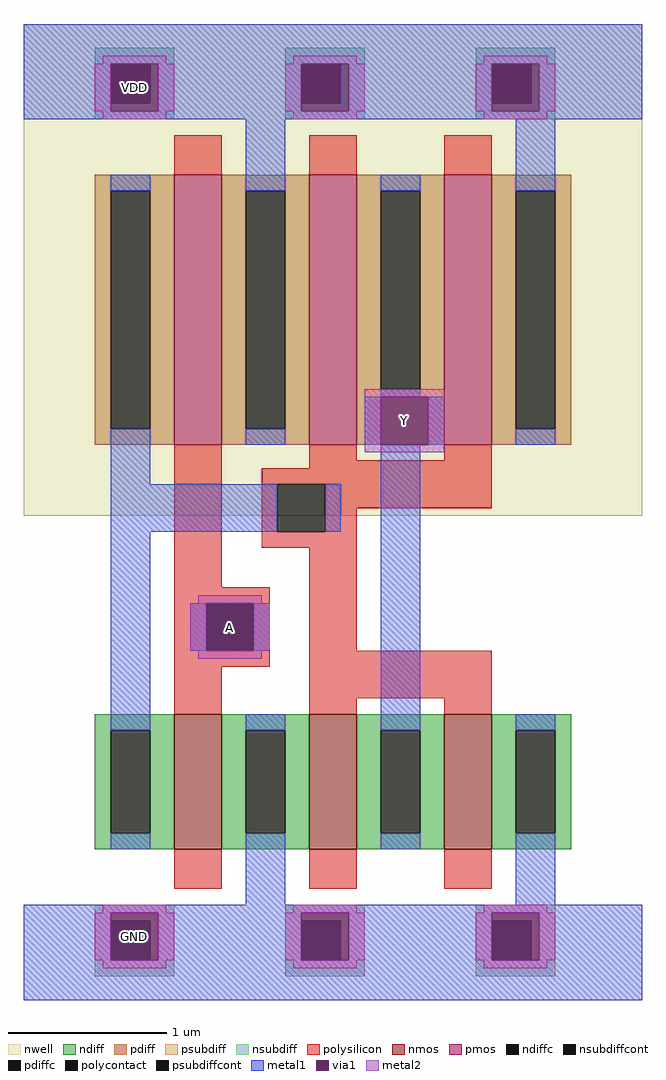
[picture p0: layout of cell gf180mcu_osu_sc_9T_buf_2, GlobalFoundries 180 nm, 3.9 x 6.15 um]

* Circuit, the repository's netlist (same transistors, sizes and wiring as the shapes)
* NGSPICE file created from gf180mcu_osu_sc_9T_buf_2.ext - technology: gf180mcuC

.inc "/import/yukari1/lrburle/globalfoundries-pdk-libs-gf180mcu_osu_sc/char/techfiles/design.hspice"
.lib "/import/yukari1/lrburle/globalfoundries-pdk-libs-gf180mcu_osu_sc/char/techfiles/sm141064.hspice" typical

X0 Y a_9_19# VDD VDD pmos_3p3 w=1.7u l=0.3u
X1 GND a_9_19# Y GND nmos_3p3 w=0.85u l=0.3u
X2 GND A a_9_19# GND nmos_3p3 w=0.85u l=0.3u
X3 VDD a_9_19# Y VDD pmos_3p3 w=1.7u l=0.3u
X4 VDD A a_9_19# VDD pmos_3p3 w=1.7u l=0.3u
X5 Y a_9_19# GND GND nmos_3p3 w=0.85u l=0.3u

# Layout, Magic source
magic
tech gf180mcuC
<< nwell >>
rect -17 97 61 159
<< nmos >>
rect 2 55 8 72
rect 19 55 25 72
rect 36 55 42 72
<< pmos >>
rect 2 106 8 140
rect 19 106 25 140
rect 36 106 42 140
<< ndiff >>
rect -8 70 2 72
rect -8 57 -6 70
rect -1 57 2 70
rect -8 55 2 57
rect 8 70 19 72
rect 8 57 11 70
rect 16 57 19 70
rect 8 55 19 57
rect 25 70 36 72
rect 25 57 28 70
rect 33 57 36 70
rect 25 55 36 57
rect 42 70 52 72
rect 42 57 45 70
rect 50 57 52 70
rect 42 55 52 57
<< pdiff >>
rect -8 138 2 140
rect -8 108 -6 138
rect -1 108 2 138
rect -8 106 2 108
rect 8 138 19 140
rect 8 108 11 138
rect 16 108 19 138
rect 8 106 19 108
rect 25 138 36 140
rect 25 113 28 138
rect 33 113 36 138
rect 25 106 36 113
rect 42 138 52 140
rect 42 108 45 138
rect 50 108 52 138
rect 42 106 52 108
<< ndiffc >>
rect -6 57 -1 70
rect 11 57 16 70
rect 28 57 33 70
rect 45 57 50 70
<< pdiffc >>
rect -6 108 -1 138
rect 11 108 16 138
rect 28 113 33 138
rect 45 108 50 138
<< psubdiff >>
rect -8 46 2 48
rect -8 41 -6 46
rect -1 41 2 46
rect -8 39 2 41
rect 16 46 26 48
rect 16 41 18 46
rect 23 41 26 46
rect 16 39 26 41
rect 40 46 50 48
rect 40 41 42 46
rect 47 41 50 46
rect 40 39 50 41
<< nsubdiff >>
rect -8 154 2 156
rect -8 149 -6 154
rect -1 149 2 154
rect -8 147 2 149
rect 16 154 26 156
rect 16 149 18 154
rect 23 149 26 154
rect 16 147 26 149
rect 40 154 50 156
rect 40 149 42 154
rect 47 149 50 154
rect 40 147 50 149
<< psubdiffcont >>
rect -6 41 -1 46
rect 18 41 23 46
rect 42 41 47 46
<< nsubdiffcont >>
rect -6 149 -1 154
rect 18 149 23 154
rect 42 149 47 154
<< polysilicon >>
rect 2 140 8 145
rect 19 140 25 145
rect 36 140 42 145
rect 2 88 8 106
rect 19 104 25 106
rect 36 104 42 106
rect 19 103 42 104
rect 13 101 42 103
rect 13 95 15 101
rect 21 98 42 101
rect 21 95 25 98
rect 13 93 25 95
rect 2 86 14 88
rect 2 80 6 86
rect 12 80 14 86
rect 2 78 14 80
rect 19 80 25 93
rect 2 72 8 78
rect 19 74 42 80
rect 19 72 25 74
rect 36 72 42 74
rect 2 50 8 55
rect 19 50 25 55
rect 36 50 42 55
<< polycontact >>
rect 15 95 21 101
rect 6 80 12 86
<< metal1 >>
rect -17 154 61 159
rect -17 148 -6 154
rect 0 148 18 154
rect 24 148 42 154
rect 48 148 61 154
rect -17 147 61 148
rect -6 138 -1 140
rect -6 101 -1 108
rect 11 138 16 147
rect 28 138 33 140
rect 28 112 33 113
rect 45 138 50 147
rect 11 106 16 108
rect 26 106 28 112
rect 34 106 36 112
rect 45 106 50 108
rect -6 95 15 101
rect 21 95 23 101
rect -6 70 -1 95
rect 4 80 6 86
rect 12 80 14 86
rect -6 55 -1 57
rect 11 70 16 72
rect 11 48 16 57
rect 28 70 33 106
rect 28 55 33 57
rect 45 70 50 72
rect 45 48 50 57
rect -17 47 61 48
rect -17 41 -6 47
rect 0 41 18 47
rect 24 41 42 47
rect 48 41 61 47
rect -17 36 61 41
<< via1 >>
rect -6 149 -1 154
rect -1 149 0 154
rect -6 148 0 149
rect 18 149 23 154
rect 23 149 24 154
rect 18 148 24 149
rect 42 149 47 154
rect 47 149 48 154
rect 42 148 48 149
rect 28 106 34 112
rect 6 80 12 86
rect -6 46 0 47
rect -6 41 -1 46
rect -1 41 0 46
rect 18 46 24 47
rect 18 41 23 46
rect 23 41 24 46
rect 42 46 48 47
rect 42 41 47 46
rect 47 41 48 46
<< metal2 >>
rect -7 154 1 155
rect 17 154 25 155
rect 41 154 49 155
rect -8 148 -6 154
rect 0 148 2 154
rect 16 148 18 154
rect 24 148 26 154
rect 40 148 42 154
rect 48 148 50 154
rect -7 147 1 148
rect 17 147 25 148
rect 41 147 49 148
rect 26 112 36 113
rect 26 106 28 112
rect 34 106 36 112
rect 26 105 36 106
rect 5 86 13 87
rect 4 80 6 86
rect 12 80 14 86
rect 5 79 13 80
rect -7 47 1 48
rect 17 47 25 48
rect 41 47 49 48
rect -8 41 -6 47
rect 0 41 2 47
rect 16 41 18 47
rect 24 41 26 47
rect 40 41 42 47
rect 48 41 50 47
rect -7 40 1 41
rect 17 40 25 41
rect 41 40 49 41
<< labels >>
rlabel metal2 -3 151 -3 151 1 VDD
rlabel metal2 9 83 9 83 1 A
port 1 n
rlabel metal2 -3 44 -3 44 1 GND
rlabel metal2 31 109 31 109 1 Y
port 2 n
<< end >>
